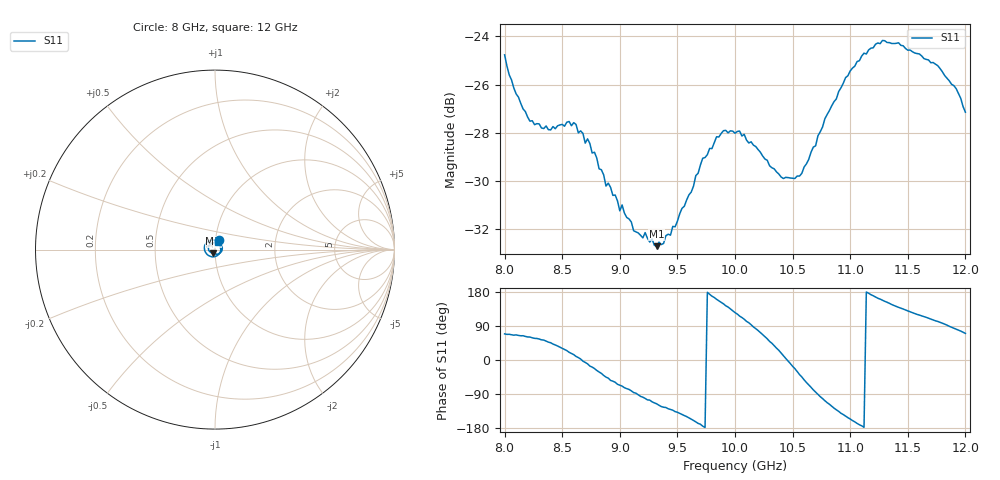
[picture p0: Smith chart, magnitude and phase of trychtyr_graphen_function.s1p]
#  HZ  S  DB  R  50.00
! Rohde & Schwarz ZVA67 4Ports - Version 3.60 - 1305.7002k04 SN: 101051
! Date: 2012-04-10 10:09:10
! Measurement: S11
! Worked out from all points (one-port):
!   201 points, 8 GHz to 12 GHz, reference 50 ohm
!   lowest |S11| = -32.7 dB at 9.32 GHz (marker M1), VSWR 1.05, Z = 49 - j2.04 ohm
!   |S11| at or under -10 dB: start of sweep to end of sweep
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8e9  -24.76 68.9
8.08e9  -26.14 65.5
8.22e9  -27.52 60.6
8.4e9  -27.89 45.6
8.5e9  -27.66 31.0
8.6e9  -27.59 14.2
8.7e9  -28.44 -6.4
8.72e9  -28.26 -10.2
8.88e9  -30.22 -45.1
9e9  -31.25 -66.4
9.02e9  -31.01 -68.9
9.12e9  -32.08 -85.9
9.32e9  -32.72 -115.6
9.5e9  -31.69 -138.0
9.72e9  -29.06 -174.6
9.84e9  -28.17 160.2
1e10  -28.03 125.1
1.022e10  -28.81 72.7
1.04e10  -29.85 18.5
1.05e10  -29.90 -16.6
1.058e10  -29.70 -44.7
1.078e10  -27.43 -107.4
1.1e10  -25.43 -155.7
1.128e10  -24.17 157.6
1.15e10  -24.57 129.6
1.176e10  -25.22 101.8
1.192e10  -26.17 81.4
1.2e10  -27.15 70.2
